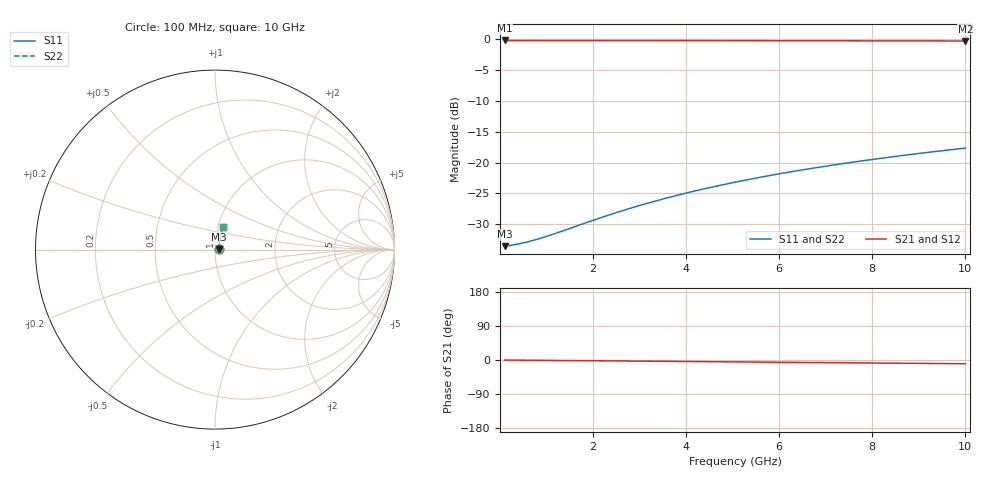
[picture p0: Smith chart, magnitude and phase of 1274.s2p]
# Hz S RI R 50.00
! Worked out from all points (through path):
!   100 points, 100 MHz to 10 GHz, reference 50 ohm
!   highest |S21| = -0.18 dB at 100 MHz (marker M1); lowest = -0.3 dB at 10 GHz (marker M2)
!   group delay of S21, straight-line fit = 2.74 ps
!   lowest |S11| = -33.5 dB at 100 MHz (marker M3), VSWR 1.04, Z = 52.1 + j0.132 ohm
!   |S11| at or under -10 dB: start of sweep to end of sweep
!   |S22| runs from -33.5 to -17.6 dB; largest |S21 - S12| = 0
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1e8  0.021 0.00127  0.979 -0.00169  0.979 -0.00169  0.021 0.00127
3e8  0.0212 0.00381  0.9788 -0.00507  0.9788 -0.00507  0.0212 0.00381
4e8  0.0213 0.00508  0.9787 -0.00676  0.9787 -0.00676  0.0213 0.00508
6e8  0.0215 0.00761  0.9785 -0.0101  0.9785 -0.0101  0.0215 0.00761
8e8  0.0217 0.0101  0.9783 -0.0135  0.9783 -0.0135  0.0217 0.0101
1.2e9  0.022 0.0152  0.978 -0.0203  0.978 -0.0203  0.022 0.0152
1.8e9  0.0226 0.0228  0.9774 -0.0304  0.9774 -0.0304  0.0226 0.0228
2.2e9  0.023 0.0278  0.9769 -0.0371  0.9769 -0.0371  0.023 0.0278
2.6e9  0.0235 0.0329  0.9764 -0.0438  0.9764 -0.0438  0.0235 0.0329
3e9  0.0241 0.0379  0.9758 -0.0505  0.9758 -0.0505  0.0241 0.0379
3.4e9  0.0247 0.0429  0.9752 -0.0572  0.9752 -0.0572  0.0247 0.0429
3.8e9  0.0254 0.048  0.9745 -0.0639  0.9745 -0.0639  0.0254 0.048
4.2e9  0.0261 0.053  0.9737 -0.0706  0.9737 -0.0706  0.0261 0.053
4.6e9  0.027 0.0579  0.9728 -0.0773  0.9728 -0.0773  0.027 0.0579
5.1e9  0.0281 0.0642  0.9717 -0.0856  0.9717 -0.0856  0.0281 0.0642
5.5e9  0.029 0.0691  0.9707 -0.0923  0.9707 -0.0923  0.029 0.0691
5.9e9  0.0301 0.074  0.9696 -0.0989  0.9696 -0.0989  0.0301 0.074
6.7e9  0.0323 0.0839  0.9672 -0.1121  0.9672 -0.1121  0.0323 0.0839
7.5e9  0.0349 0.0936  0.9646 -0.1252  0.9646 -0.1252  0.0349 0.0936
8.4e9  0.038 0.1045  0.9613 -0.1399  0.9613 -0.1399  0.038 0.1045
9.2e9  0.0411 0.114  0.9581 -0.1528  0.9581 -0.1528  0.0411 0.114
1e10  0.0444 0.1235  0.9547 -0.1657  0.9547 -0.1657  0.0444 0.1235
